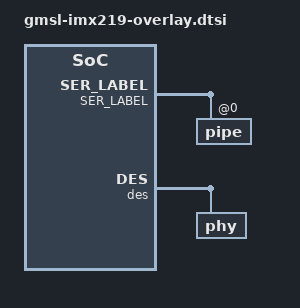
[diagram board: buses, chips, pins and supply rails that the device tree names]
// SPDX-License-Identifier: GPL-2.0
/*
 * Copyright (C) 2023 Analog Devices Inc.
 */

#if defined(DES_CH_INDEX)
#if DES_CH_INDEX == 0
#define DES_CH_SECOND_INDEX 4
#elif DES_CH_INDEX == 1
#define DES_CH_SECOND_INDEX 5
#elif DES_CH_INDEX == 2
#define DES_CH_SECOND_INDEX 6
#elif DES_CH_INDEX == 3
#define DES_CH_SECOND_INDEX 7
#endif
#endif

#if defined(SER_INDEX)
#define SER_LABEL CONCAT(ser_, SER_INDEX)
#endif

#if !defined(SER_LABEL)
#error
#endif

#if !defined(DES_CH_SECOND_INDEX)
#error
#endif

#define SER_MFP2_RESET_LABEL CONCAT(SER_LABEL, _mfp2_reset)

&SER_LABEL {
	SER_MFP2_RESET_LABEL {
		gpio-hog;
		output-low;
		gpios = <2 0>;
		label = STRINGIFY(SER_MFP2_RESET_LABEL);
	};

	pipe@0 {
		maxim,dbl8;
		maxim,soft-bpp = <10>;
		maxim,bpp = <16>;
	};

	channel@1 {
		reg = <1>;

		label = STRINGIFY(SER_X_CH_Y_LABEL(SER_INDEX, 1));

		maxim,embedded-data;

		ports {
			#address-cells = <1>;
			#size-cells = <0>;

			port@0 {
				reg = <0>;

				SER_X_CH_Y_OUT_LABEL(SER_INDEX, 1): endpoint {
					remote-endpoint = <&DES_CH_Y_IN_LABEL(DES_CH_SECOND_INDEX)>;
				};
			};
		};
	};
};

&des {
	phy@GMSL_DES_PHY {
		maxim,alt2-mem-map8;
	};

	channel@DES_CH_SECOND_INDEX {
		reg = <DES_CH_SECOND_INDEX>;

		maxim,phy-id = <GMSL_DES_PHY>;
		maxim,embedded-data;

		label = STRINGIFY(DES_CH_Y_LABEL(DES_CH_SECOND_INDEX));

		ports {
			#address-cells = <1>;
			#size-cells = <0>;

			port@1 {
				reg = <1>;

				DES_CH_Y_IN_LABEL(DES_CH_SECOND_INDEX): endpoint {
					remote-endpoint = <&SER_X_CH_Y_OUT_LABEL(SER_INDEX, 1)>;
				};
			};
		};
	};
};

#undef SER_MFP2_RESET_LABEL

#undef SER_INDEX
#undef SER_LABEL
#undef DES_CH_INDEX
#undef DES_CH_SECOND_INDEX
